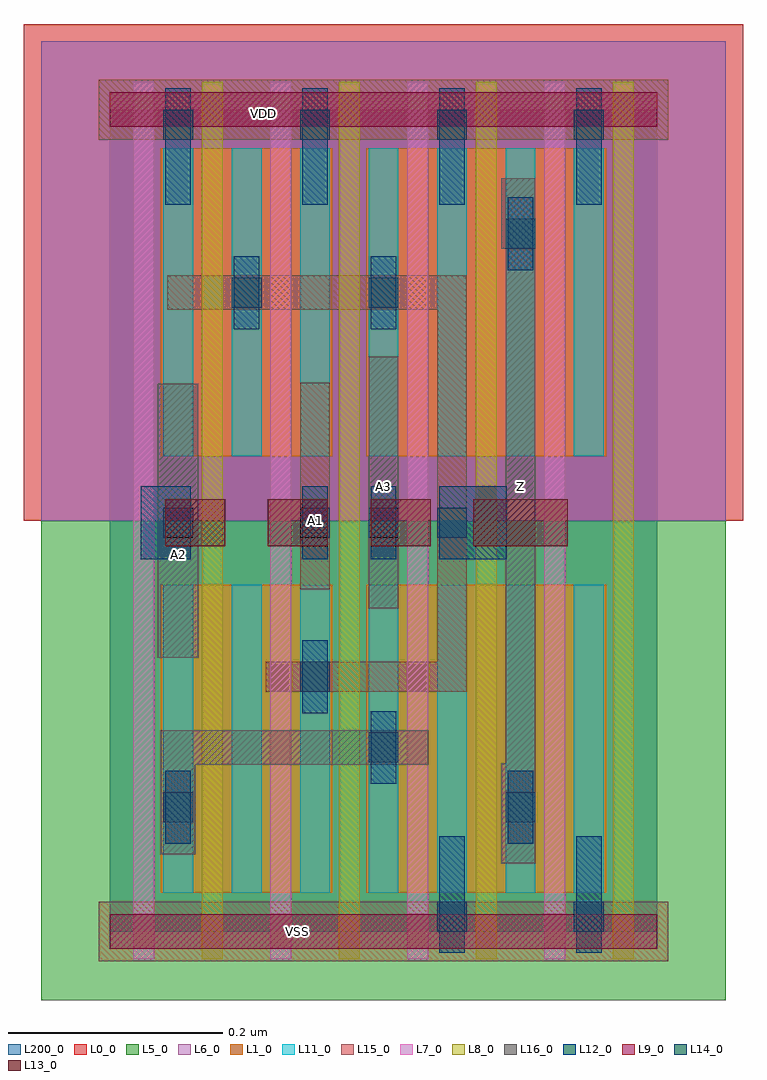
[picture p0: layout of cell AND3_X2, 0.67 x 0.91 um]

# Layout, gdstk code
import gdstk
lib = gdstk.Library(unit=1e-6, precision=1e-09)
def R(c, l, rs):  # rectangles x0, y0, x1, y1
    for r in rs: c.add(gdstk.rectangle(r[:2], r[2:], *l))
def A(c, l, x, y, w, h, nx, ny, dx, dy):  # array of equal rectangles
    R(c, l, [(x+i*dx, y+j*dy, x+i*dx+w, y+j*dy+h) for i in range(nx) for j in range(ny)])
def P(c, l, *ps):  # polygons
    for p in ps: c.add(gdstk.Polygon(p, *l))
L0_0 = (0, 0)
L1_0 = (1, 0)
L5_0 = (5, 0)
L6_0 = (6, 0)
L7_0 = (7, 0)
L8_0 = (8, 0)
L9_0 = (9, 0)
L11_0 = (11, 0)
L12_0 = (12, 0)
L13_0 = (13, 0)
L14_0 = (14, 0)
L15_0 = (15, 0)
L16_0 = (16, 0)
L200_0 = (200, 0)

and3_x2 = lib.new_cell('AND3_X2')
R(and3_x2, L0_0, [(-0.08,0.384,0.592,0.848)])
R(and3_x2, L1_0, [(0.048,0.036,0.208,0.324), (0.24,0.036,0.464,0.324), (0.048,0.444,0.208,0.732), (0.24,0.444,0.464,0.732)])
R(and3_x2, L5_0, [(-0.064,-0.064,0.576,0.384)])
R(and3_x2, L6_0, [(-0.064,0.384,0.576,0.832)])
A(and3_x2, L7_0, 0.022, -0.026, 0.02, 0.82, 4, 1, 0.128, 0)
A(and3_x2, L8_0, 0.086, -0.026, 0.02, 0.82, 4, 1, 0.128, 0)
R(and3_x2, L9_0, [(0,-0.016,0.512,0.016), (0,0.752,0.512,0.784)])
A(and3_x2, L11_0, 0.05, 0.036, 0.028, 0.288, 7, 2, 0.064, 0.408)
A(and3_x2, L12_0, 0.052, 0.679, 0.024, 0.109, 4, 1, 0.128, 0)
R(and3_x2, L12_0, [(0.308,-0.02,0.332,0.089), (0.436,-0.02,0.46,0.089), (0.052,0.082,0.076,0.15), (0.372,0.082,0.396,0.15), (0.244,0.138,0.268,0.206), (0.18,0.204,0.204,0.272), (0.029,0.348,0.076,0.416), (0.18,0.348,0.204,0.416), (0.244,0.348,0.268,0.416), (0.308,0.348,0.371,0.416), (0.116,0.563,0.14,0.631), (0.244,0.563,0.268,0.631), (0.372,0.618,0.396,0.686)])
A(and3_x2, L13_0, 0.052, 0.36, 0.056, 0.044, 3, 1, 0.096, 0)
R(and3_x2, L13_0, [(0.34,0.36,0.428,0.404)])
A(and3_x2, L14_0, 0.178, 0.368, 0.028, 0.028, 3, 1, 0.064, 0)
A(and3_x2, L14_0, 0.05, 0.74, 0.028, 0.028, 4, 1, 0.128, 0)
R(and3_x2, L14_0, [(0.306,0,0.334,0.028), (0.434,0,0.462,0.028), (0.05,0.102,0.078,0.13), (0.37,0.102,0.398,0.13), (0.242,0.158,0.27,0.186), (0.178,0.224,0.206,0.252), (0.05,0.368,0.078,0.396), (0.114,0.583,0.142,0.611), (0.242,0.583,0.27,0.611), (0.37,0.638,0.398,0.666)])
R(and3_x2, L15_0, [(-0.01,-0.028,0.522,0.028), (0.178,0.32,0.206,0.513), (-0.01,0.74,0.522,0.796)])
P(and3_x2, L15_0, [(0.054,0.581),(0.306,0.581),(0.306,0.252),(0.146,0.252),(0.146,0.224),(0.334,0.224),(0.334,0.613),(0.054,0.613)])
R(and3_x2, L16_0, [(0.045,0.256,0.083,0.512), (0.242,0.302,0.27,0.537)])
P(and3_x2, L16_0, [(0.048,0.072),(0.08,0.072),(0.08,0.156),(0.298,0.156),(0.298,0.188),(0.048,0.188)],
  [(0.366,0.638),(0.37,0.638),(0.37,0.157),(0.366,0.157),(0.366,0.064),(0.398,0.064),(0.398,0.704),(0.366,0.704)])
R(and3_x2, L200_0, [(0,0,0.512,0.768)])
and3_x2.add(gdstk.Label('A1', (0.192,0.384), layer=15, texttype=20))
and3_x2.add(gdstk.Label('VDD', (0.144,0.764), layer=15, texttype=20))
and3_x2.add(gdstk.Label('VSS', (0.176,0), layer=15, texttype=20))
and3_x2.add(gdstk.Label('A2', (0.064,0.352), layer=16, texttype=20))
and3_x2.add(gdstk.Label('A3', (0.256,0.416), layer=16, texttype=20))
and3_x2.add(gdstk.Label('Z', (0.384,0.416), layer=16, texttype=20))

lib.write_gds('AND3_X2.gds')
